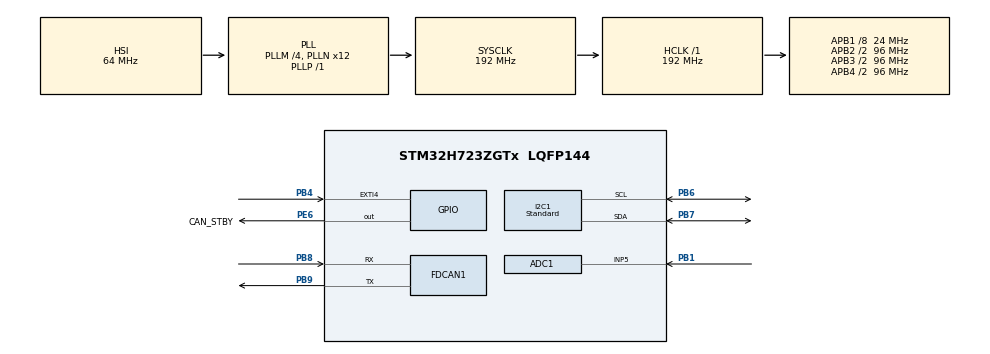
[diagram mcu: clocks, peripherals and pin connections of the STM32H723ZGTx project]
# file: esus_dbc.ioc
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ADC1.Channel-0\#ChannelRegularConversion=ADC_CHANNEL_5
ADC1.ClockPrescaler=ADC_CLOCK_ASYNC_DIV4
ADC1.NbrOfConversionFlag=1
ADC1.OffsetNumber-0\#ChannelRegularConversion=ADC_OFFSET_NONE
ADC1.OffsetSignedSaturation-0\#ChannelRegularConversion=DISABLE
ADC1.Rank-0\#ChannelRegularConversion=1
ADC1.Resolution=ADC_RESOLUTION_12B
ADC1.SamplingTime-0\#ChannelRegularConversion=ADC_SAMPLETIME_387CYCLES_5
ADC1.master=1
CORTEX_M7.default_mode_Activation=1
FDCAN1.AutoRetransmission=ENABLE
FDCAN1.CalculateBaudRateNominal=1000000
FDCAN1.CalculateTimeBitNominal=1000
FDCAN1.CalculateTimeQuantumNominal=62.5
FDCAN1.DataPrescaler=1
FDCAN1.DataTimeSeg1=1
FDCAN1.DataTimeSeg2=1
FDCAN1.NominalPrescaler=6
FDCAN1.NominalSyncJumpWidth=1
FDCAN1.NominalTimeSeg1=13
FDCAN1.NominalTimeSeg2=2
FDCAN1.TxFifoQueueElmtsNbr=16
FDCAN1.TxFifoQueueMode=FDCAN_TX_FIFO_OPERATION
FREERTOS.Tasks01=defaultTask,24,1024,StartDefaultTask,Default,NULL,Dynamic,NULL,NULL;ReadIMU,40,1024,ReadIMUTask,Default,NULL,Dynamic,NULL,NULL;CANTx,24,1024,CANTxTask,Default,NULL,Dynamic,NULL,NULL;ReadLinPot,40,1024,ReadLinPotTask,Default,NULL,Dynamic,NULL,NULL
FREERTOS.configMINIMAL_STACK_SIZE=1024
FREERTOS.configTOTAL_HEAP_SIZE=65536
I2C1.I2C_Coeff_DF=15
I2C1.I2C_Speed_Mode=I2C_Standard
I2C1.Timing=0x00504F7B
Mcu.Family=STM32H7
Mcu.Name=STM32H723ZGTx
Mcu.Package=LQFP144
NVIC.ADC_IRQn=true\:5\:0\:false\:false\:true\:true\:true\:true\:true
NVIC.EXTI4_IRQn=true\:6\:0\:true\:false\:true\:false\:true\:true\:true
NVIC.PriorityGroup=NVIC_PRIORITYGROUP_4
NVIC.TIM1_UP_IRQn=true\:15\:0\:false\:false\:true\:false\:false\:true\:true
NVIC.TimeBase=TIM1_UP_IRQn
NVIC.TimeBaseIP=TIM1
PA13(JTMS/SWDIO).Mode=Serial_Wire
PA13(JTMS/SWDIO).Signal=DEBUG_JTMS-SWDIO
PA14(JTCK/SWCLK).Mode=Serial_Wire
PA14(JTCK/SWCLK).Signal=DEBUG_JTCK-SWCLK
PB1.Signal=ADCx_INP5
PB4(NJTRST).GPIO_ModeDefaultEXTI=GPIO_MODE_IT_FALLING
PB4(NJTRST).Signal=GPXTI4
PB6.Mode=I2C
PB6.Signal=I2C1_SCL
PB7.Mode=I2C
PB7.Signal=I2C1_SDA
PB8.Mode=FDCAN_Activate
PB8.Signal=FDCAN1_RX
PB9.Mode=FDCAN_Activate
PB9.Signal=FDCAN1_TX
PE6.GPIO_Label=CAN_STBY
PE6.Signal=GPIO_Output
ProjectManager.HeapSize=0x200
ProjectManager.StackSize=0x400
ProjectManager.TargetToolchain=CMake
RCC.ADCFreq_Value=129000000
RCC.APB1Freq_Value=24000000
RCC.APB2Freq_Value=96000000
RCC.APB3Freq_Value=96000000
RCC.APB4Freq_Value=96000000
RCC.CortexFreq_Value=192000000
RCC.D1PPRE=RCC_APB3_DIV2
RCC.D2PPRE1=RCC_APB1_DIV8
RCC.D2PPRE2=RCC_APB2_DIV2
RCC.D3PPRE=RCC_APB4_DIV2
RCC.DIVM1=4
RCC.DIVN1=12
RCC.DIVP1=1
RCC.HCLKFreq_Value=192000000
RCC.PLL2FRACN=0
RCC.PLL3FRACN=0
RCC.PLLFRACN=0
RCC.SYSCLKFreq_VALUE=192000000
RCC.SYSCLKSource=RCC_SYSCLKSOURCE_PLLCLK
RCC.USBFreq_Value=96000000
SH.ADCx_INP5.0=ADC1_INP5,IN5-Single-Ended
VP_FREERTOS_VS_CMSIS_V2.Mode=CMSIS_V2
VP_MEMORYMAP_VS_MEMORYMAP.Mode=CurAppReg
VP_SYS_VS_tim1.Mode=TIM1
board=custom

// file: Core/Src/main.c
/* USER CODE BEGIN Header */
/**
  ******************************************************************************
  * @file           : main.c
  * @brief          : Main program body
  ******************************************************************************
  * @attention
  *
  * Copyright (c) 2026 STMicroelectronics.
  * All rights reserved.
  *
  * This software is licensed under terms that can be found in the LICENSE file
  * in the root directory of this software component.
  * If no LICENSE file comes with this software, it is provided AS-IS.
  *
  ******************************************************************************
  */
/* USER CODE END Header */
#include "main.h"
#include "FreeRTOS.h"
#include "cmsis_os2.h"
#include "adc.h"
#include "fdcan.h"
#include "i2c.h"
#include "gpio.h"

void SystemClock_Config(void);
static void MPU_Config(void);
void MX_FREERTOS_Init(void);

int main(void)
{

  /* MPU Configuration--------------------------------------------------------*/
  MPU_Config();

  /* MCU Configuration--------------------------------------------------------*/

  /* Reset of all peripherals, Initializes the Flash interface and the Systick. */
  HAL_Init();

  /* Configure the system clock */
  SystemClock_Config();

  /* Initialize all configured peripherals */
  MX_GPIO_Init();
  MX_FDCAN1_Init();
  MX_I2C1_Init();
  MX_ADC1_Init();
  /* USER CODE BEGIN 2 */

  /* Set CAN_STBY Low */
  HAL_GPIO_WritePin(GPIOE, GPIO_PIN_6, GPIO_PIN_RESET);

  /* Start CAN Peripheral */
  if (HAL_FDCAN_Start(&hfdcan1) != HAL_OK)
  {
    Error_Handler();
  }

  /* USER CODE END 2 */

  /* Init scheduler */
  osKernelInitialize();  /* Call init function for freertos objects (in cmsis_os2.c) */
  MX_FREERTOS_Init();

  /* Start scheduler */
  osKernelStart();

  /* We should never get here as control is now taken by the scheduler */

  /* Infinite loop */
  while (1)
  {

  }
}

void SystemClock_Config(void)
{
  RCC_OscInitTypeDef RCC_OscInitStruct = {0};
  RCC_ClkInitTypeDef RCC_ClkInitStruct = {0};

  /** Supply configuration update enable
  */
  HAL_PWREx_ConfigSupply(PWR_LDO_SUPPLY);

  /** Configure the main internal regulator output voltage
  */
  __HAL_PWR_VOLTAGESCALING_CONFIG(PWR_REGULATOR_VOLTAGE_SCALE1);

  while(!__HAL_PWR_GET_FLAG(PWR_FLAG_VOSRDY)) {}

  /** Initializes the RCC Oscillators according to the specified parameters
  * in the RCC_OscInitTypeDef structure.
  */
  RCC_OscInitStruct.OscillatorType = RCC_OSCILLATORTYPE_HSI;
  RCC_OscInitStruct.HSIState = RCC_HSI_DIV1;
  RCC_OscInitStruct.HSICalibrationValue = 64;
  RCC_OscInitStruct.PLL.PLLState = RCC_PLL_ON;
  RCC_OscInitStruct.PLL.PLLSource = RCC_PLLSOURCE_HSI;
  RCC_OscInitStruct.PLL.PLLM = 4;
  RCC_OscInitStruct.PLL.PLLN = 12;
  RCC_OscInitStruct.PLL.PLLP = 1;
  RCC_OscInitStruct.PLL.PLLQ = 2;
  RCC_OscInitStruct.PLL.PLLR = 2;
  RCC_OscInitStruct.PLL.PLLRGE = RCC_PLL1VCIRANGE_3;
  RCC_OscInitStruct.PLL.PLLVCOSEL = RCC_PLL1VCOWIDE;
  RCC_OscInitStruct.PLL.PLLFRACN = 0;
  if (HAL_RCC_OscConfig(&RCC_OscInitStruct) != HAL_OK)
  {
    Error_Handler();
  }

  /** Initializes the CPU, AHB and APB buses clocks
  */
  RCC_ClkInitStruct.ClockType = RCC_CLOCKTYPE_HCLK|RCC_CLOCKTYPE_SYSCLK
                              |RCC_CLOCKTYPE_PCLK1|RCC_CLOCKTYPE_PCLK2
                              |RCC_CLOCKTYPE_D3PCLK1|RCC_CLOCKTYPE_D1PCLK1;
  RCC_ClkInitStruct.SYSCLKSource = RCC_SYSCLKSOURCE_PLLCLK;
  RCC_ClkInitStruct.SYSCLKDivider = RCC_SYSCLK_DIV1;
  RCC_ClkInitStruct.AHBCLKDivider = RCC_HCLK_DIV1;
  RCC_ClkInitStruct.APB3CLKDivider = RCC_APB3_DIV2;
  RCC_ClkInitStruct.APB1CLKDivider = RCC_APB1_DIV8;
  RCC_ClkInitStruct.APB2CLKDivider = RCC_APB2_DIV2;
  RCC_ClkInitStruct.APB4CLKDivider = RCC_APB4_DIV2;

  if (HAL_RCC_ClockConfig(&RCC_ClkInitStruct, FLASH_LATENCY_2) != HAL_OK)
  {
    Error_Handler();
  }
}

 /* MPU Configuration */

void MPU_Config(void)
{
  MPU_Region_InitTypeDef MPU_InitStruct = {0};

  /* Disables the MPU */
  HAL_MPU_Disable();

  /** Initializes and configures the Region and the memory to be protected
  */
  MPU_InitStruct.Enable = MPU_REGION_ENABLE;
  MPU_InitStruct.Number = MPU_REGION_NUMBER0;
  MPU_InitStruct.BaseAddress = 0x0;
  MPU_InitStruct.Size = MPU_REGION_SIZE_4GB;
  MPU_InitStruct.SubRegionDisable = 0x87;
  MPU_InitStruct.TypeExtField = MPU_TEX_LEVEL0;
  MPU_InitStruct.AccessPermission = MPU_REGION_NO_ACCESS;
  MPU_InitStruct.DisableExec = MPU_INSTRUCTION_ACCESS_DISABLE;
  MPU_InitStruct.IsShareable = MPU_ACCESS_SHAREABLE;
  MPU_InitStruct.IsCacheable = MPU_ACCESS_NOT_CACHEABLE;
  MPU_InitStruct.IsBufferable = MPU_ACCESS_NOT_BUFFERABLE;

  HAL_MPU_ConfigRegion(&MPU_InitStruct);
  /* Enables the MPU */
  HAL_MPU_Enable(MPU_PRIVILEGED_DEFAULT);

}

void HAL_TIM_PeriodElapsedCallback(TIM_HandleTypeDef *htim)
{
  if (htim->Instance == TIM1)
  {
    HAL_IncTick();
  }
}

void Error_Handler(void)
{
  __disable_irq();
  while (1)
  {
  }
}

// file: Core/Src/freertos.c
/* USER CODE BEGIN Header */
/**
  ******************************************************************************
  * File Name          : freertos.c
  * Description        : Code for freertos applications
  ******************************************************************************
  * @attention
  *
  * Copyright (c) 2026 STMicroelectronics.
  * All rights reserved.
  *
  * This software is licensed under terms that can be found in the LICENSE file
  * in the root directory of this software component.
  * If no LICENSE file comes with this software, it is provided AS-IS.
  *
  ******************************************************************************
  */
/* USER CODE END Header */

#include "FreeRTOS.h"
#include "task.h"
#include "main.h"
#include "FreeRTOS.h"
#include "cmsis_os2.h"

/* USER CODE BEGIN Includes */
#include <string.h>
#include <stdlib.h>

#include "adc.h"
#include "semphr.h"
#include "fdcan.h"
#include "mochi.h"
#include "i2c.h"
/* USER CODE END Includes */

/* USER CODE BEGIN PTD */
typedef struct {
  uint32_t Identifier;
  uint8_t  Payload[8];
  uint32_t DataLength;
} CAN_Queue_Msg_t;
/* USER CODE END PTD */

/* USER CODE BEGIN PD */

#define ICM42670_I2C_ADDR (0x68 << 1) // 0xD0
#define REG_ACCEL_DATA_X1 0x0B

/* USER CODE END PD */

/* USER CODE BEGIN PM */

// Fast median filter for 3 values
static inline int16_t median3(int16_t a, int16_t b, int16_t c) {
  if (a > b) {
    if (b > c) return b;
    else if (a > c) return c;
    else return a;
  } else {
    if (a > c) return a;
    else if (b > c) return c;
    else return b;
  }
}

/* USER CODE END PM */

/* USER CODE BEGIN Variables */

extern I2C_HandleTypeDef hi2c1;
extern FDCAN_HandleTypeDef hfdcan1;
extern ADC_HandleTypeDef hadc1;

QueueHandle_t CAN_Tx_Queue;
SemaphoreHandle_t IMU_DataReady_Sem;
SemaphoreHandle_t ADC_DataReady_Sem;

/* USER CODE END Variables */
/* Definitions for defaultTask */
osThreadId_t defaultTaskHandle;
const osThreadAttr_t defaultTask_attributes = {
  .name = "defaultTask",
  .stack_size = 1024 * 4,
  .priority = (osPriority_t) osPriorityNormal,
};
/* Definitions for ReadIMU */
osThreadId_t ReadIMUHandle;
const osThreadAttr_t ReadIMU_attributes = {
  .name = "ReadIMU",
  .stack_size = 1024 * 4,
  .priority = (osPriority_t) osPriorityHigh,
};
/* Definitions for CANTx */
osThreadId_t CANTxHandle;
const osThreadAttr_t CANTx_attributes = {
  .name = "CANTx",
  .stack_size = 1024 * 4,
  .priority = (osPriority_t) osPriorityNormal,
};
/* Definitions for ReadLinPot */
osThreadId_t ReadLinPotHandle;
const osThreadAttr_t ReadLinPot_attributes = {
  .name = "ReadLinPot",
  .stack_size = 1024 * 4,
  .priority = (osPriority_t) osPriorityHigh,
};

void StartDefaultTask(void *argument);
void ReadIMUTask(void *argument);
void CANTxTask(void *argument);
void ReadLinPotTask(void *argument);

void MX_FREERTOS_Init(void); /* (MISRA C 2004 rule 8.1) */

void MX_FREERTOS_Init(void) {

  /* USER CODE BEGIN RTOS_SEMAPHORES */
  IMU_DataReady_Sem = xSemaphoreCreateBinary();
  ADC_DataReady_Sem = xSemaphoreCreateBinary();
  /* add semaphores, ... */
  /* USER CODE END RTOS_SEMAPHORES */

  /* USER CODE BEGIN RTOS_QUEUES */
  CAN_Tx_Queue = xQueueCreate(32, sizeof(CAN_Queue_Msg_t));
  /* add queues, ... */
  /* USER CODE END RTOS_QUEUES */

  /* Create the thread(s) */
  /* creation of defaultTask */
  defaultTaskHandle = osThreadNew(StartDefaultTask, NULL, &defaultTask_attributes);

  /* creation of ReadIMU */
  ReadIMUHandle = osThreadNew(ReadIMUTask, NULL, &ReadIMU_attributes);

  /* creation of CANTx */
  CANTxHandle = osThreadNew(CANTxTask, NULL, &CANTx_attributes);

  /* creation of ReadLinPot */
  ReadLinPotHandle = osThreadNew(ReadLinPotTask, NULL, &ReadLinPot_attributes);

}

void StartDefaultTask(void *argument)
{
  for(;;)
  {
    osDelay(1);
  }
}

void ReadIMUTask(void *argument)
{
  /* USER CODE BEGIN ReadIMUTask */

  if (IMU_Init() != HAL_OK)
  {
    vTaskSuspend(NULL);
  }

  uint8_t rawData[12];
  struct mochi_fr_accel_t accel_msg;
  struct mochi_fr_gyro_t gyro_msg;
  CAN_Queue_Msg_t txMsg;

  // History buffers for the 3-sample sliding window
  int16_t ax_hist[3] = {0}, ay_hist[3] = {0}, az_hist[3] = {0};
  int16_t gx_hist[3] = {0}, gy_hist[3] = {0}, gz_hist[3] = {0};
  uint8_t hist_idx = 0;

  /* Infinite loop */
  for(;;)
  {
    // Wait for the EXTI interrupt
    if (xSemaphoreTake(IMU_DataReady_Sem, portMAX_DELAY) == pdTRUE)
    {
      if (HAL_I2C_Mem_Read(&hi2c1, ICM42670_I2C_ADDR, REG_ACCEL_DATA_X1,
                                 I2C_MEMADD_SIZE_8BIT, rawData, 12, 100) == HAL_OK)
      {
        // Extract the raw bits directly into the history buffer
        ax_hist[hist_idx] = (int16_t)((rawData[0] << 8) | rawData[1]);
        ay_hist[hist_idx] = (int16_t)((rawData[2] << 8) | rawData[3]);
        az_hist[hist_idx] = (int16_t)((rawData[4] << 8) | rawData[5]);

        gx_hist[hist_idx] = (int16_t)((rawData[6] << 8)  | rawData[7]);
        gy_hist[hist_idx] = (int16_t)((rawData[8] << 8)  | rawData[9]);
        gz_hist[hist_idx] = (int16_t)((rawData[10] << 8) | rawData[11]);

        // Advance the circular buffer index (0, 1, 2, 0, 1...)
        hist_idx = (hist_idx + 1) % 3;

        // Filter Accelerometer
        memset(&txMsg, 0, sizeof(txMsg));
        accel_msg.accel_x = median3(ax_hist[0], ax_hist[1], ax_hist[2]);
        accel_msg.accel_y = median3(ay_hist[0], ay_hist[1], ay_hist[2]);
        accel_msg.accel_z = median3(az_hist[0], az_hist[1], az_hist[2]);

        mochi_fr_accel_pack(txMsg.Payload, &accel_msg, sizeof(txMsg.Payload));
        txMsg.Identifier = MOCHI_FR_ACCEL_FRAME_ID;
        txMsg.DataLength = 6;
        xQueueSend(CAN_Tx_Queue, &txMsg, pdMS_TO_TICKS(10));

        // Filter Gyroscope
        memset(&txMsg, 0, sizeof(txMsg));
        gyro_msg.gyro_x = median3(gx_hist[0], gx_hist[1], gx_hist[2]);
        gyro_msg.gyro_y = median3(gy_hist[0], gy_hist[1], gy_hist[2]);
        gyro_msg.gyro_z = median3(gz_hist[0], gz_hist[1], gz_hist[2]);

        mochi_fr_gyro_pack(txMsg.Payload, &gyro_msg, sizeof(txMsg.Payload));
        txMsg.Identifier = MOCHI_FR_GYRO_FRAME_ID;
        txMsg.DataLength = 6;
        xQueueSend(CAN_Tx_Queue, &txMsg, pdMS_TO_TICKS(10));
      }
      else
      {
        // AUTO-RECOVERY
        HAL_I2C_DeInit(&hi2c1);
        vTaskDelay(pdMS_TO_TICKS(5));
        MX_I2C1_Init();
      }
    }
  }
  /* USER CODE END ReadIMUTask */
}

void CANTxTask(void *argument)
{
  /* USER CODE BEGIN CANTxTask */
  CAN_Queue_Msg_t rxMsg;
  FDCAN_TxHeaderTypeDef TxHeader;

  // Initialize static FDCAN header parameters
  TxHeader.IdType = FDCAN_STANDARD_ID;
  TxHeader.TxFrameType = FDCAN_DATA_FRAME;
  TxHeader.ErrorStateIndicator = FDCAN_ESI_ACTIVE;
  TxHeader.BitRateSwitch = FDCAN_BRS_OFF;
  TxHeader.FDFormat = FDCAN_CLASSIC_CAN;
  TxHeader.TxEventFifoControl = FDCAN_NO_TX_EVENTS;
  TxHeader.MessageMarker = 0;

  /* Infinite loop */
  for(;;)
  {
    // Wait forever until a message is placed in the queue
    if (xQueueReceive(CAN_Tx_Queue, &rxMsg, portMAX_DELAY) == pdTRUE)
    {
      TxHeader.Identifier = rxMsg.Identifier;

      // Convert standard integer length to FDCAN bitfield macro
      const uint32_t FDCAN_DLC_Table[] = {
        FDCAN_DLC_BYTES_0, FDCAN_DLC_BYTES_1, FDCAN_DLC_BYTES_2, FDCAN_DLC_BYTES_3,
        FDCAN_DLC_BYTES_4, FDCAN_DLC_BYTES_5, FDCAN_DLC_BYTES_6, FDCAN_DLC_BYTES_7,
        FDCAN_DLC_BYTES_8
      };

      // Protect against out-of-bounds arrays if DataLength is > 8
      if (rxMsg.DataLength <= 8) {
        TxHeader.DataLength = FDCAN_DLC_Table[rxMsg.DataLength];
      } else {
        TxHeader.DataLength = FDCAN_DLC_BYTES_8;
      }

      uint8_t tx_timeout = 0;

      // Yield gracefully to other tasks if the hardware FIFO is temporarily full
      while (HAL_FDCAN_GetTxFifoFreeLevel(&hfdcan1) == 0)
      {
        vTaskDelay(pdMS_TO_TICKS(1));
        tx_timeout++;

        // If the bus is broken or disconnected, give up after 5ms
        if (tx_timeout >= 5)
        {
          break;
        }
      }

      // Only add the message to the FDCAN hardware queue if space actually freed up
      if (HAL_FDCAN_GetTxFifoFreeLevel(&hfdcan1) > 0)
      {
        HAL_FDCAN_AddMessageToTxFifoQ(&hfdcan1, &TxHeader, rxMsg.Payload);
      }
    }
  }
  /* USER CODE END CANTxTask */
}

void ReadLinPotTask(void *argument)
{
  /* USER CODE BEGIN ReadLinPotTask */
  CAN_Queue_Msg_t txMsg;
  uint32_t raw_adc_val;
  struct mochi_fr_linpot_t linpot_msg;

  /* Infinite loop */
  for(;;) {
    // Trigger the ADC conversion
    HAL_ADC_Start_IT(&hadc1);

    // Wait for the interrupt to say the conversion is done
    if (xSemaphoreTake(ADC_DataReady_Sem, portMAX_DELAY) == pdTRUE) {

      raw_adc_val = HAL_ADC_GetValue(&hadc1);

      // Clear the message structs before use
      memset(&txMsg, 0, sizeof(txMsg));
      mochi_fr_linpot_init(&linpot_msg); // Zeroes out the DBC struct

      // Calculate physical travel in cm
      // 36.5 base length + up to 25.0 cm of suspension stroke
      // Casted to double to match the cantools encode function signature
      double linpot_calc_cm = 36.5 + ((double)raw_adc_val / 4095.0) * 25.0;

      // Encode the physical value using the generated DBC function
      // This automatically applies the 0.01 scale factor from the DBC
      linpot_msg.travel = mochi_fr_linpot_travel_encode(linpot_calc_cm);

      // Pack the struct into the CAN payload array
      mochi_fr_linpot_pack(txMsg.Payload, &linpot_msg, sizeof(txMsg.Payload));

      // Set the CAN ID and DLC
      txMsg.Identifier = MOCHI_FR_LINPOT_FRAME_ID;
      txMsg.DataLength = 2;

      // Send it to the shared CAN transmission queue
      xQueueSend(CAN_Tx_Queue, &txMsg, pdMS_TO_TICKS(10));
    }

    // Wait
    vTaskDelay(pdMS_TO_TICKS(50));
  }
  /* USER CODE END ReadLinPotTask */
}
